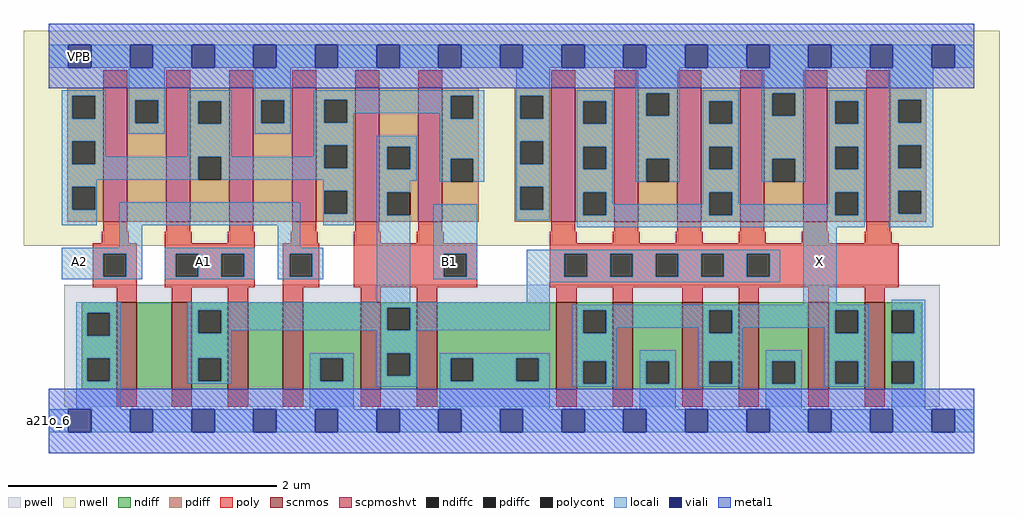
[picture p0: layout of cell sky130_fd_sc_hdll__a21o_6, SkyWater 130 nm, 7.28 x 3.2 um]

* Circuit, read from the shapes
.subckt sky130_fd_sc_hdll__a21o_6 A1 A2 B1 VGND VNB VPB VPWR X
XM1 n1 A2 VGND VNB sky130_fd_pr__nfet_01v8 w=0.65 l=0.15
XM2 n2 A1 n1 VNB sky130_fd_pr__nfet_01v8 w=0.65 l=0.15
XM3 n3 A1 n2 VNB sky130_fd_pr__nfet_01v8 w=0.65 l=0.15
XM4 VGND A2 n3 VNB sky130_fd_pr__nfet_01v8 w=0.65 l=0.15
XM5 n2 B1 VGND VNB sky130_fd_pr__nfet_01v8 w=0.65 l=0.15 m=2
XM6 X n2 VGND VNB sky130_fd_pr__nfet_01v8 w=0.65 l=0.15 m=6
XM7 VPWR A2 n4 VPB sky130_fd_pr__pfet_01v8_hvt w=1 l=0.18 m=2
XM8 n4 A1 VPWR VPB sky130_fd_pr__pfet_01v8_hvt w=1 l=0.18 m=2
XM9 n2 B1 n4 VPB sky130_fd_pr__pfet_01v8_hvt w=1 l=0.18 m=2
XM10 X n2 VPWR VPB sky130_fd_pr__pfet_01v8_hvt w=1 l=0.18 m=6
.ends

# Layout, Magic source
magic
tech sky130A
magscale 1 2
<< nwell >>
rect -38 261 1418 582
<< pwell >>
rect 23 21 1329 203
rect 29 -17 63 21
<< scnmos >>
rect 101 47 131 177
rect 183 47 213 177
rect 267 47 297 177
rect 349 47 379 177
rect 465 47 495 177
rect 549 47 579 177
rect 757 47 787 177
rect 841 47 871 177
rect 945 47 975 177
rect 1029 47 1059 177
rect 1133 47 1163 177
rect 1217 47 1247 177
<< scpmoshvt >>
rect 81 297 117 497
rect 175 297 211 497
rect 269 297 305 497
rect 363 297 399 497
rect 457 297 493 497
rect 551 297 587 497
rect 749 297 785 497
rect 843 297 879 497
rect 937 297 973 497
rect 1031 297 1067 497
rect 1125 297 1161 497
rect 1219 297 1255 497
<< ndiff >>
rect 49 161 101 177
rect 49 127 57 161
rect 91 127 101 161
rect 49 93 101 127
rect 49 59 57 93
rect 91 59 101 93
rect 49 47 101 59
rect 131 47 183 177
rect 213 165 267 177
rect 213 131 223 165
rect 257 131 267 165
rect 213 93 267 131
rect 213 59 223 93
rect 257 59 267 93
rect 213 47 267 59
rect 297 47 349 177
rect 379 93 465 177
rect 379 59 405 93
rect 439 59 465 93
rect 379 47 465 59
rect 495 169 549 177
rect 495 135 505 169
rect 539 135 549 169
rect 495 101 549 135
rect 495 67 505 101
rect 539 67 549 101
rect 495 47 549 67
rect 579 93 757 177
rect 579 59 599 93
rect 633 59 697 93
rect 731 59 757 93
rect 579 47 757 59
rect 787 165 841 177
rect 787 131 797 165
rect 831 131 841 165
rect 787 89 841 131
rect 787 55 797 89
rect 831 55 841 89
rect 787 47 841 55
rect 871 89 945 177
rect 871 55 891 89
rect 925 55 945 89
rect 871 47 945 55
rect 975 165 1029 177
rect 975 131 985 165
rect 1019 131 1029 165
rect 975 89 1029 131
rect 975 55 985 89
rect 1019 55 1029 89
rect 975 47 1029 55
rect 1059 89 1133 177
rect 1059 55 1079 89
rect 1113 55 1133 89
rect 1059 47 1133 55
rect 1163 165 1217 177
rect 1163 131 1173 165
rect 1207 131 1217 165
rect 1163 89 1217 131
rect 1163 55 1173 89
rect 1207 55 1217 89
rect 1163 47 1217 55
rect 1247 165 1303 177
rect 1247 131 1257 165
rect 1291 131 1303 165
rect 1247 89 1303 131
rect 1247 55 1257 89
rect 1291 55 1303 89
rect 1247 47 1303 55
<< pdiff >>
rect 27 485 81 497
rect 27 451 35 485
rect 69 451 81 485
rect 27 417 81 451
rect 27 383 35 417
rect 69 383 81 417
rect 27 349 81 383
rect 27 315 35 349
rect 69 315 81 349
rect 27 297 81 315
rect 117 478 175 497
rect 117 444 129 478
rect 163 444 175 478
rect 117 297 175 444
rect 211 477 269 497
rect 211 443 223 477
rect 257 443 269 477
rect 211 394 269 443
rect 211 360 223 394
rect 257 360 269 394
rect 211 297 269 360
rect 305 478 363 497
rect 305 444 317 478
rect 351 444 363 478
rect 305 297 363 444
rect 399 479 457 497
rect 399 445 411 479
rect 445 445 457 479
rect 399 411 457 445
rect 399 377 411 411
rect 445 377 457 411
rect 399 343 457 377
rect 399 309 411 343
rect 445 309 457 343
rect 399 297 457 309
rect 493 409 551 497
rect 493 375 505 409
rect 539 375 551 409
rect 493 341 551 375
rect 493 307 505 341
rect 539 307 551 341
rect 493 297 551 307
rect 587 485 641 497
rect 587 451 599 485
rect 633 451 641 485
rect 587 391 641 451
rect 587 357 599 391
rect 633 357 641 391
rect 587 297 641 357
rect 695 485 749 497
rect 695 451 703 485
rect 737 451 749 485
rect 695 417 749 451
rect 695 383 703 417
rect 737 383 749 417
rect 695 349 749 383
rect 695 315 703 349
rect 737 315 749 349
rect 695 297 749 315
rect 785 477 843 497
rect 785 443 797 477
rect 831 443 843 477
rect 785 409 843 443
rect 785 375 797 409
rect 831 375 843 409
rect 785 341 843 375
rect 785 307 797 341
rect 831 307 843 341
rect 785 297 843 307
rect 879 489 937 497
rect 879 455 891 489
rect 925 455 937 489
rect 879 391 937 455
rect 879 357 891 391
rect 925 357 937 391
rect 879 297 937 357
rect 973 477 1031 497
rect 973 443 985 477
rect 1019 443 1031 477
rect 973 409 1031 443
rect 973 375 985 409
rect 1019 375 1031 409
rect 973 341 1031 375
rect 973 307 985 341
rect 1019 307 1031 341
rect 973 297 1031 307
rect 1067 489 1125 497
rect 1067 455 1079 489
rect 1113 455 1125 489
rect 1067 391 1125 455
rect 1067 357 1079 391
rect 1113 357 1125 391
rect 1067 297 1125 357
rect 1161 477 1219 497
rect 1161 443 1173 477
rect 1207 443 1219 477
rect 1161 409 1219 443
rect 1161 375 1173 409
rect 1207 375 1219 409
rect 1161 341 1219 375
rect 1161 307 1173 341
rect 1207 307 1219 341
rect 1161 297 1219 307
rect 1255 479 1309 497
rect 1255 445 1267 479
rect 1301 445 1309 479
rect 1255 411 1309 445
rect 1255 377 1267 411
rect 1301 377 1309 411
rect 1255 343 1309 377
rect 1255 309 1267 343
rect 1301 309 1309 343
rect 1255 297 1309 309
<< ndiffc >>
rect 57 127 91 161
rect 57 59 91 93
rect 223 131 257 165
rect 223 59 257 93
rect 405 59 439 93
rect 505 135 539 169
rect 505 67 539 101
rect 599 59 633 93
rect 697 59 731 93
rect 797 131 831 165
rect 797 55 831 89
rect 891 55 925 89
rect 985 131 1019 165
rect 985 55 1019 89
rect 1079 55 1113 89
rect 1173 131 1207 165
rect 1173 55 1207 89
rect 1257 131 1291 165
rect 1257 55 1291 89
<< pdiffc >>
rect 35 451 69 485
rect 35 383 69 417
rect 35 315 69 349
rect 129 444 163 478
rect 223 443 257 477
rect 223 360 257 394
rect 317 444 351 478
rect 411 445 445 479
rect 411 377 445 411
rect 411 309 445 343
rect 505 375 539 409
rect 505 307 539 341
rect 599 451 633 485
rect 599 357 633 391
rect 703 451 737 485
rect 703 383 737 417
rect 703 315 737 349
rect 797 443 831 477
rect 797 375 831 409
rect 797 307 831 341
rect 891 455 925 489
rect 891 357 925 391
rect 985 443 1019 477
rect 985 375 1019 409
rect 985 307 1019 341
rect 1079 455 1113 489
rect 1079 357 1113 391
rect 1173 443 1207 477
rect 1173 375 1207 409
rect 1173 307 1207 341
rect 1267 445 1301 479
rect 1267 377 1301 411
rect 1267 309 1301 343
<< poly >>
rect 81 497 117 523
rect 175 497 211 523
rect 269 497 305 523
rect 363 497 399 523
rect 457 497 493 523
rect 551 497 587 523
rect 749 497 785 523
rect 843 497 879 523
rect 937 497 973 523
rect 1031 497 1067 523
rect 1125 497 1161 523
rect 1219 497 1255 523
rect 81 282 117 297
rect 175 282 211 297
rect 269 282 305 297
rect 363 282 399 297
rect 457 282 493 297
rect 551 282 587 297
rect 749 282 785 297
rect 843 282 879 297
rect 937 282 973 297
rect 1031 282 1067 297
rect 1125 282 1161 297
rect 1219 282 1255 297
rect 79 265 119 282
rect 173 265 213 282
rect 267 265 307 282
rect 361 265 401 282
rect 455 265 495 282
rect 549 265 589 282
rect 747 265 787 282
rect 841 265 881 282
rect 935 265 975 282
rect 1029 265 1069 282
rect 1123 265 1163 282
rect 1217 265 1257 282
rect 65 249 131 265
rect 65 215 81 249
rect 115 215 131 249
rect 65 199 131 215
rect 173 249 307 265
rect 173 215 189 249
rect 223 215 257 249
rect 291 215 307 249
rect 173 199 307 215
rect 349 249 403 265
rect 349 215 359 249
rect 393 215 403 249
rect 349 199 403 215
rect 455 249 639 265
rect 455 215 589 249
rect 623 215 639 249
rect 455 199 639 215
rect 747 249 1268 265
rect 747 215 769 249
rect 803 215 837 249
rect 871 215 905 249
rect 939 215 973 249
rect 1007 215 1041 249
rect 1075 215 1268 249
rect 747 199 1268 215
rect 101 177 131 199
rect 183 177 213 199
rect 267 177 297 199
rect 349 177 379 199
rect 465 177 495 199
rect 549 177 579 199
rect 757 177 787 199
rect 841 177 871 199
rect 945 177 975 199
rect 1029 177 1059 199
rect 1133 177 1163 199
rect 1217 177 1247 199
rect 101 21 131 47
rect 183 21 213 47
rect 267 21 297 47
rect 349 21 379 47
rect 465 21 495 47
rect 549 21 579 47
rect 757 21 787 47
rect 841 21 871 47
rect 945 21 975 47
rect 1029 21 1059 47
rect 1133 21 1163 47
rect 1217 21 1247 47
<< polycont >>
rect 81 215 115 249
rect 189 215 223 249
rect 257 215 291 249
rect 359 215 393 249
rect 589 215 623 249
rect 769 215 803 249
rect 837 215 871 249
rect 905 215 939 249
rect 973 215 1007 249
rect 1041 215 1075 249
<< locali >>
rect 0 527 29 561
rect 63 527 121 561
rect 155 527 213 561
rect 247 527 305 561
rect 339 527 397 561
rect 431 527 489 561
rect 523 527 581 561
rect 615 527 673 561
rect 707 527 765 561
rect 799 527 857 561
rect 891 527 949 561
rect 983 527 1041 561
rect 1075 527 1133 561
rect 1167 527 1225 561
rect 1259 527 1317 561
rect 1351 527 1380 561
rect 19 485 85 493
rect 19 451 35 485
rect 69 451 85 485
rect 19 417 85 451
rect 119 478 173 527
rect 119 444 129 478
rect 163 444 173 478
rect 119 428 173 444
rect 207 477 273 493
rect 207 443 223 477
rect 257 443 273 477
rect 19 383 35 417
rect 69 394 85 417
rect 207 394 273 443
rect 307 478 361 527
rect 307 444 317 478
rect 351 444 361 478
rect 307 428 361 444
rect 395 485 649 493
rect 395 479 599 485
rect 395 445 411 479
rect 445 459 599 479
rect 445 445 455 459
rect 395 411 455 445
rect 583 451 599 459
rect 633 451 649 485
rect 395 394 411 411
rect 69 383 223 394
rect 19 360 223 383
rect 257 377 411 394
rect 445 377 455 411
rect 257 360 455 377
rect 19 349 71 360
rect 19 315 35 349
rect 69 315 71 349
rect 409 343 455 360
rect 19 292 71 315
rect 105 292 375 326
rect 409 309 411 343
rect 445 309 455 343
rect 409 292 455 309
rect 489 409 549 425
rect 489 375 505 409
rect 539 375 549 409
rect 489 358 549 375
rect 583 391 649 451
rect 489 341 539 358
rect 583 357 599 391
rect 633 357 649 391
rect 697 485 747 527
rect 697 451 703 485
rect 737 451 747 485
rect 697 417 747 451
rect 697 383 703 417
rect 737 383 747 417
rect 489 307 505 341
rect 697 349 747 383
rect 105 258 139 292
rect 341 258 375 292
rect 19 249 139 258
rect 19 215 81 249
rect 115 215 139 249
rect 19 211 139 215
rect 173 249 307 258
rect 173 215 189 249
rect 223 215 257 249
rect 291 215 307 249
rect 173 211 307 215
rect 341 249 409 258
rect 341 215 359 249
rect 393 215 409 249
rect 341 211 409 215
rect 489 177 539 307
rect 573 249 639 323
rect 697 315 703 349
rect 737 315 747 349
rect 697 299 747 315
rect 787 477 841 493
rect 787 443 797 477
rect 831 443 841 477
rect 787 409 841 443
rect 787 375 797 409
rect 831 375 841 409
rect 787 341 841 375
rect 875 489 941 527
rect 875 455 891 489
rect 925 455 941 489
rect 875 391 941 455
rect 875 357 891 391
rect 925 357 941 391
rect 975 477 1029 493
rect 975 443 985 477
rect 1019 443 1029 477
rect 975 409 1029 443
rect 975 375 985 409
rect 1019 375 1029 409
rect 787 307 797 341
rect 831 323 841 341
rect 975 341 1029 375
rect 1063 489 1129 527
rect 1063 455 1079 489
rect 1113 455 1129 489
rect 1063 391 1129 455
rect 1063 357 1079 391
rect 1113 357 1129 391
rect 1163 477 1217 493
rect 1163 443 1173 477
rect 1207 443 1217 477
rect 1163 409 1217 443
rect 1163 375 1173 409
rect 1207 375 1217 409
rect 975 323 985 341
rect 831 307 985 323
rect 1019 323 1029 341
rect 1163 341 1217 375
rect 1163 323 1173 341
rect 1019 307 1173 323
rect 1207 307 1217 341
rect 787 289 1217 307
rect 1253 479 1319 527
rect 1253 445 1267 479
rect 1301 445 1319 479
rect 1253 411 1319 445
rect 1253 377 1267 411
rect 1301 377 1319 411
rect 1253 343 1319 377
rect 1253 309 1267 343
rect 1301 309 1319 343
rect 1253 289 1319 309
rect 573 215 589 249
rect 623 215 639 249
rect 573 211 639 215
rect 713 249 1091 255
rect 713 215 769 249
rect 803 215 837 249
rect 871 215 905 249
rect 939 215 973 249
rect 1007 215 1041 249
rect 1075 215 1091 249
rect 713 207 1091 215
rect 713 177 747 207
rect 41 161 107 177
rect 41 127 57 161
rect 91 127 107 161
rect 41 93 107 127
rect 41 59 57 93
rect 91 59 107 93
rect 41 17 107 59
rect 207 169 747 177
rect 1125 173 1175 289
rect 207 165 505 169
rect 207 131 223 165
rect 257 135 505 165
rect 539 135 747 169
rect 781 165 1223 173
rect 257 131 273 135
rect 207 93 273 131
rect 489 101 549 135
rect 781 131 797 165
rect 831 139 985 165
rect 831 131 847 139
rect 207 59 223 93
rect 257 59 273 93
rect 207 55 273 59
rect 389 93 455 101
rect 389 59 405 93
rect 439 59 455 93
rect 389 17 455 59
rect 489 67 505 101
rect 539 67 549 101
rect 489 51 549 67
rect 583 93 747 101
rect 583 59 599 93
rect 633 59 697 93
rect 731 59 747 93
rect 583 17 747 59
rect 781 89 847 131
rect 969 131 985 139
rect 1019 139 1173 165
rect 1019 131 1035 139
rect 781 55 797 89
rect 831 55 847 89
rect 781 51 847 55
rect 881 89 935 105
rect 881 55 891 89
rect 925 55 935 89
rect 881 17 935 55
rect 969 89 1035 131
rect 1157 131 1173 139
rect 1207 131 1223 165
rect 969 55 985 89
rect 1019 55 1035 89
rect 969 51 1035 55
rect 1069 89 1123 105
rect 1069 55 1079 89
rect 1113 55 1123 89
rect 1069 17 1123 55
rect 1157 89 1223 131
rect 1157 55 1173 89
rect 1207 55 1223 89
rect 1157 51 1223 55
rect 1257 165 1307 181
rect 1291 131 1307 165
rect 1257 89 1307 131
rect 1291 55 1307 89
rect 1257 17 1307 55
rect 0 -17 29 17
rect 63 -17 121 17
rect 155 -17 213 17
rect 247 -17 305 17
rect 339 -17 397 17
rect 431 -17 489 17
rect 523 -17 581 17
rect 615 -17 673 17
rect 707 -17 765 17
rect 799 -17 857 17
rect 891 -17 949 17
rect 983 -17 1041 17
rect 1075 -17 1133 17
rect 1167 -17 1225 17
rect 1259 -17 1317 17
rect 1351 -17 1380 17
<< viali >>
rect 29 527 63 561
rect 121 527 155 561
rect 213 527 247 561
rect 305 527 339 561
rect 397 527 431 561
rect 489 527 523 561
rect 581 527 615 561
rect 673 527 707 561
rect 765 527 799 561
rect 857 527 891 561
rect 949 527 983 561
rect 1041 527 1075 561
rect 1133 527 1167 561
rect 1225 527 1259 561
rect 1317 527 1351 561
rect 29 -17 63 17
rect 121 -17 155 17
rect 213 -17 247 17
rect 305 -17 339 17
rect 397 -17 431 17
rect 489 -17 523 17
rect 581 -17 615 17
rect 673 -17 707 17
rect 765 -17 799 17
rect 857 -17 891 17
rect 949 -17 983 17
rect 1041 -17 1075 17
rect 1133 -17 1167 17
rect 1225 -17 1259 17
rect 1317 -17 1351 17
<< metal1 >>
rect 0 561 1380 592
rect 0 527 29 561
rect 63 527 121 561
rect 155 527 213 561
rect 247 527 305 561
rect 339 527 397 561
rect 431 527 489 561
rect 523 527 581 561
rect 615 527 673 561
rect 707 527 765 561
rect 799 527 857 561
rect 891 527 949 561
rect 983 527 1041 561
rect 1075 527 1133 561
rect 1167 527 1225 561
rect 1259 527 1317 561
rect 1351 527 1380 561
rect 0 496 1380 527
rect 0 17 1380 48
rect 0 -17 29 17
rect 63 -17 121 17
rect 155 -17 213 17
rect 247 -17 305 17
rect 339 -17 397 17
rect 431 -17 489 17
rect 523 -17 581 17
rect 615 -17 673 17
rect 707 -17 765 17
rect 799 -17 857 17
rect 891 -17 949 17
rect 983 -17 1041 17
rect 1075 -17 1133 17
rect 1167 -17 1225 17
rect 1259 -17 1317 17
rect 1351 -17 1380 17
rect 0 -48 1380 -17
<< labels >>
rlabel comment s 0 0 0 0 4 a21o_6
flabel locali s 29 221 63 255 0 FreeSans 200 180 0 0 A2
port 2 nsew signal input
flabel locali s 213 221 247 255 0 FreeSans 200 180 0 0 A1
port 1 nsew signal input
flabel locali s 1133 221 1167 255 0 FreeSans 200 180 0 0 X
port 8 nsew signal output
flabel locali s 581 221 615 255 0 FreeSans 200 180 0 0 B1
port 3 nsew signal input
flabel pwell s 29 -17 63 17 0 FreeSans 200 0 0 0 VNB
port 5 nsew ground bidirectional
flabel nwell s 29 527 63 561 0 FreeSans 200 0 0 0 VPB
port 6 nsew power bidirectional
flabel metal1 s 29 -17 63 17 0 FreeSans 200 0 0 0 VGND
port 4 nsew ground bidirectional
flabel metal1 s 29 527 63 561 0 FreeSans 200 0 0 0 VPWR
port 7 nsew power bidirectional
<< properties >>
string LEFsite unithd
string LEFclass CORE
string FIXED_BBOX 0 0 1380 544
string GDS_FILE $PDKPATH/libs.ref/sky130_fd_sc_hdll/gds/sky130_fd_sc_hdll.gds
string LEFsymmetry X Y R90
string GDS_END 1342266
string GDS_START 1331686
string LEFproperties maskLayoutSubType "abstract" prCellType "standard" originalViewName "layout"
<< end >>
